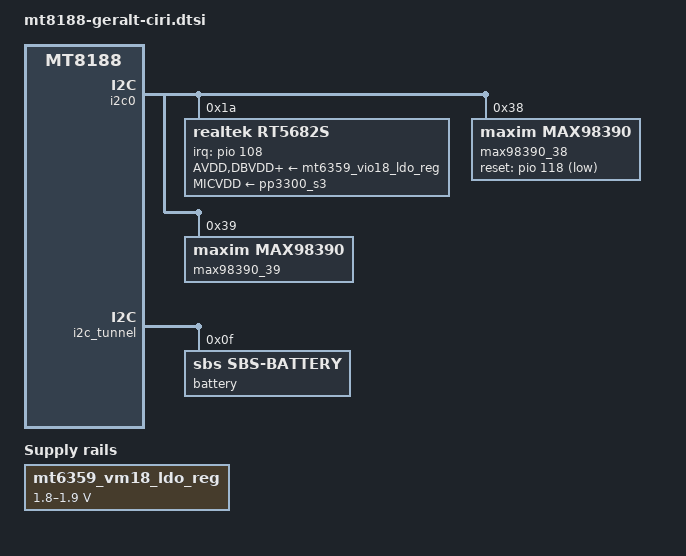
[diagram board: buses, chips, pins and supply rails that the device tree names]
// SPDX-License-Identifier: (GPL-2.0 OR MIT)
/*
 * Copyright 2023 Google LLC
 */
/dts-v1/;
#include "mt8188-geralt.dtsi"

&aud_etdm_hp_on {
	pins-mclk {
		pinmux = <PINMUX_GPIO114__FUNC_O_I2SO2_MCK>;
	};
};

&aud_etdm_hp_off {
	pins-mclk {
		pinmux = <PINMUX_GPIO114__FUNC_B_GPIO114>;
		bias-pull-down;
		input-enable;
	};
};

&i2c0 {
	rt5682s: audio-codec@1a {
		compatible = "realtek,rt5682s";
		reg = <0x1a>;
		interrupts-extended = <&pio 108 IRQ_TYPE_EDGE_BOTH>;
		pinctrl-names = "default";
		pinctrl-0 = <&audio_codec_pins>;
		#sound-dai-cells = <1>;

		AVDD-supply = <&mt6359_vio18_ldo_reg>;
		DBVDD-supply = <&mt6359_vio18_ldo_reg>;
		LDO1-IN-supply = <&mt6359_vio18_ldo_reg>;
		MICVDD-supply = <&pp3300_s3>;
		realtek,jd-src = <1>;
	};

	max98390_38: amplifier@38 {
		compatible = "maxim,max98390";
		reg = <0x38>;
		sound-name-prefix = "Front Right";
		reset-gpios = <&pio 118 GPIO_ACTIVE_LOW>;
		pinctrl-names = "default";
		pinctrl-0 = <&speaker_en>;
		#sound-dai-cells = <0>;
	};

	max98390_39: amplifier@39 {
		compatible = "maxim,max98390";
		reg = <0x39>;
		sound-name-prefix = "Front Left";
		#sound-dai-cells = <0>;
	};
};

&i2c_tunnel {
	/*
	 * The virtual battery I2C addr is 0xf on Ciri, so we describe it
	 * manually instead of including 'arm/cros-ec-sbs.dtsi'.
	 **/
	battery: sbs-battery@f {
		compatible = "sbs,sbs-battery";
		reg = <0xf>;
		sbs,i2c-retry-count = <2>;
		sbs,poll-retry-count = <1>;
	};
};

&mipi_tx_config0 {
	drive-strength-microamp = <5200>;
};

&mt6359_vm18_ldo_reg {
	regulator-min-microvolt = <1800000>;
	regulator-max-microvolt = <1900000>;
	regulator-microvolt-offset = <100000>;
};

&sound {
	dai-link-0 {
		link-name = "ETDM1_IN_BE";
		dai-format = "i2s";
		mediatek,clk-provider = "cpu";
	};

	dai-link-1 {
		link-name = "ETDM1_OUT_BE";
		dai-format = "i2s";
		mediatek,clk-provider = "cpu";

		codec {
			sound-dai = <&max98390_38>,
				    <&max98390_39>;
		};
	};

	dai-link-2 {
		link-name = "ETDM2_IN_BE";
		mediatek,clk-provider = "cpu";

		codec {
			sound-dai = <&rt5682s 0>;
		};
	};

	dai-link-3 {
		link-name = "ETDM2_OUT_BE";
		mediatek,clk-provider = "cpu";

		codec {
			sound-dai = <&rt5682s 0>;
		};
	};

	dai-link-4 {
		link-name = "DPTX_BE";

		codec {
			sound-dai = <&dp_tx>;
		};
	};
};

&pio {
	gpio-line-names =
		"GSC_AP_INT_ODL",
		"AP_DISP_BKLTEN",
		"",
		"EN_PPVAR_MIPI_DISP",
		"EN_PPVAR_MIPI_DISP_150MA",
		"TCHSCR_RST_1V8_L",
		"",
		"",
		"",
		"",
		"",
		"I2S_SPKR_DATAOUT",
		"EN_PP3300_WLAN_X",
		"WIFI_KILL_1V8_L",
		"BT_KILL_1V8_L",
		"AP_FLASH_WP_L", /* ... is crossystem ABI. Rev1 schematics call it AP_WP_ODL. */
		"",
		"",
		"WCAM_PWDN_L",
		"WCAM_RST_L",
		"UCAM_PWDM_L",
		"UCAM_RST_L",
		"WCAM_24M_CLK",
		"UCAM_24M_CLK",
		"MT6319_INT",
		"DISP_RST_1V8_L",
		"DSIO_DSI_TE",
		"",
		"TP",
		"MIPI_BL_PWM_1V8",
		"",
		"UART_AP_TX_GSC_RX",
		"UART_GSC_TX_AP_RX",
		"UART_SSPM_TX_DBGCON_RX",
		"UART_DBGCON_TX_SSPM_RX",
		"UART_ADSP_TX_DBGCON_RX",
		"UART_DBGCON_TX_ADSP_RX",
		"JTAG_AP_TMS",
		"JTAG_AP_TCK",
		"JTAG_AP_TDI",
		"JTAG_AP_TDO",
		"JTAG_AP_TRST",
		"AP_KPCOL0",
		"TP",
		"",
		"TP",
		"EC_AP_HPD_OD",
		"PCIE_WAKE_1V8_ODL",
		"PCIE_RST_1V8_L",
		"PCIE_CLKREQ_1V8_ODL",
		"",
		"",
		"",
		"",
		"",
		"AP_I2C_AUD_SCL_1V8",
		"AP_I2C_AUD_SDA_1V8",
		"AP_I2C_TPM_SCL_1V8",
		"AP_I2C_TPM_SDA_1V8",
		"AP_I2C_TCHSCR_SCL_1V8",
		"AP_I2C_TCHSCR_SDA_1V8",
		"AP_I2C_PMIC_SAR_SCL_1V8",
		"AP_I2C_PMIC_SAR_SDA_1V8",
		"AP_I2C_EC_HID_KB_SCL_1V8",
		"AP_I2C_EC_HID_KB_SDA_1V8",
		"AP_I2C_UCAM_SCL_1V8",
		"AP_I2C_UCAM_SDA_1V8",
		"AP_I2C_WCAM_SCL_1V8",
		"AP_I2C_WCAM_SDA_1V8",
		"SPI_AP_CS_EC_L",
		"SPI_AP_CLK_EC",
		"SPI_AP_DO_EC_DI",
		"SPI_AP_DI_EC_DO",
		"TP",
		"TP",
		"SPI_AP_CS_TCHSCR_L",
		"SPI_AP_CLK_TCHSCR",
		"SPI_AP_DO_TCHSCR_DI",
		"SPI_AP_DI_TCHSCR_DO",
		"TP",
		"TP",
		"TP",
		"TP",
		"",
		"",
		"",
		"TP",
		"",
		"",
		"",
		"",
		"",
		"PWRAP_SPI_CS_L",
		"PWRAP_SPI_CK",
		"PWRAP_SPI_MOSI",
		"PWRAP_SPI_MISO",
		"SRCLKENA0",
		"SRCLKENA1",
		"SCP_VREQ_VAO",
		"AP_RTC_CLK32K",
		"AP_PMIC_WDTRST_L",
		"AUD_CLK_MOSI",
		"AUD_SYNC_MOSI",
		"AUD_DAT_MOSI0",
		"AUD_DAT_MOSI1",
		"AUD_DAT_MISO0",
		"AUD_DAT_MISO1",
		"",
		"HP_INT_ODL",
		"SPKR_INT_ODL",
		"I2S_HP_DATAIN",
		"EN_SPKR",
		"I2S_SPKR_MCLK",
		"I2S_SPKR_BCLK",
		"I2S_HP_MCLK",
		"I2S_HP_BCLK",
		"I2S_HP_LRCK",
		"I2S_HP_DATAOUT",
		"RST_SPKR_L",
		"I2S_SPKR_LRCK",
		"I2S_SPKR_DATAIN",
		"",
		"",
		"",
		"",
		"SPI_AP_CLK_ROM",
		"SPI_AP_CS_ROM_L",
		"SPI_AP_DO_ROM_DI",
		"SPI_AP_DI_ROM_DO",
		"TP",
		"TP",
		"",
		"",
		"",
		"",
		"",
		"",
		"",
		"",
		"EN_PP2800A_UCAM_X",
		"EN_PP1200_UCAM_X",
		"EN_PP2800A_WCAM_X",
		"EN_PP1100_WCAM_X",
		"TCHSCR_INT_1V8_L",
		"",
		"MT7921_PMU_EN_1V8",
		"",
		"AP_EC_WARM_RST_REQ",
		"EC_AP_HID_INT_ODL",
		"EC_AP_INT_ODL",
		"AP_XHCI_INIT_DONE",
		"EMMC_DAT7",
		"EMMC_DAT6",
		"EMMC_DAT5",
		"EMMC_DAT4",
		"EMMC_RST_L",
		"EMMC_CMD",
		"EMMC_CLK",
		"EMMC_DAT3",
		"EMMC_DAT2",
		"EMMC_DAT1",
		"EMMC_DAT0",
		"EMMC_DSL",
		"",
		"",
		"",
		"",
		"",
		"",
		"",
		"",
		"USB3_HUB_RST_L",
		"EC_AP_RSVD0_ODL",
		"",
		"",
		"SPMI_SCL",
		"SPMI_SDA";

	audio_codec_pins: audio-codec-pins {
		pins-hp-int-odl {
			pinmux = <PINMUX_GPIO108__FUNC_B_GPIO108>;
			input-enable;
		};
	};

	speaker_en: speaker-en-pins {
		pins-en-spkr {
			pinmux = <PINMUX_GPIO111__FUNC_B_GPIO111>;
		};
	};
};
